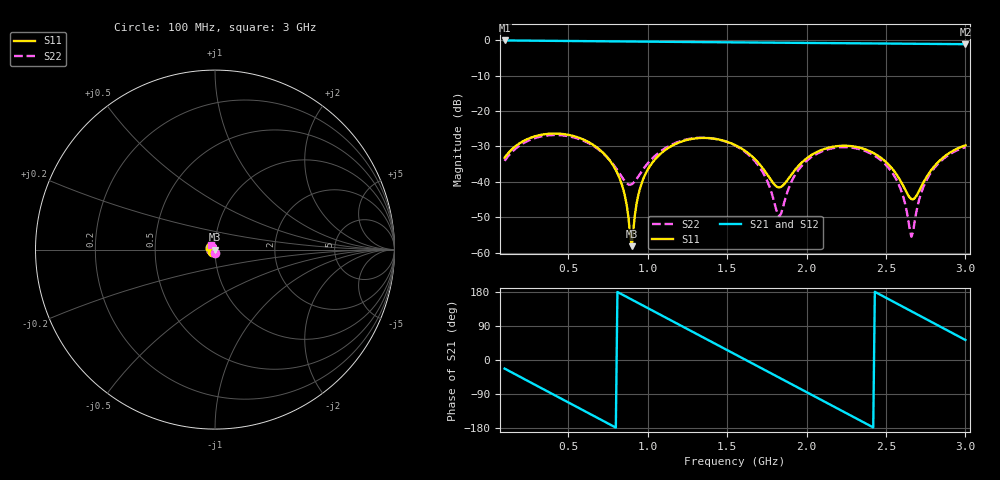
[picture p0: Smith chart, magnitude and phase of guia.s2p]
! Touchstone file from project guia_mathias
! Exported from HFSS 13.0.0
! Variables:
!  Hcobre = 0.015mm
!  Hsubstrato = 1.57mm
!  Lsubstrato = 100mm
!  Wcobre = 3.06mm
!  Wsubstrato = 30mm
# GHZ S MA R 50.000000
! Modal data exported
! Port[1] = 1:1
! Port[2] = 2:1
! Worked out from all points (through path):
!   291 points, 100 MHz to 3 GHz, reference 50 ohm
!   highest |S21| = -0.05 dB at 100 MHz (marker M1); lowest = -1.1 dB at 3 GHz (marker M2)
!   group delay of S21, straight-line fit = 617 ps
!   lowest |S11| = -58.2 dB at 900 MHz (marker M3), VSWR 1.00, Z = 50.1 - j0.0798 ohm
!   |S11| at or under -10 dB: start of sweep to end of sweep
!   |S22| runs from -55.5 to -26.8 dB; largest |S21 - S12| = 9.3e-11
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0.1  0.02191 -141.0  0.9943 -22.6  0.9943 -22.6  0.01982 -95.9
! Gamma ! 0.0518922790040102 3.82800494065523 0.0526845505472849 3.83355159764763
! Port Impedance 50 0 50 0
0.35  0.04697 173.7  0.9826 -78.5  0.9826 -78.5  0.04462 -166.7
0.59  0.04014 122.4  0.9728 -131.8  0.9728 -131.8  0.03858 143.2
0.81  0.01319 72.5  0.9646 179.4  0.9646 179.4  0.01457 121.7
0.86  0.005904 55.5  0.9628 168.3  0.9628 168.3  0.009991 138.0
0.9  0.001232 -40.3  0.9613 159.4  0.9613 159.4  0.00924 164.7
0.92  0.003407 -104.5  0.9605 155.0  0.9605 155.0  0.01019 176.8
0.95  0.007719 -122.9  0.9592 148.3  0.9592 148.3  0.01273 -172.1
1.07  0.02354 -154.4  0.9537 121.7  0.9537 121.7  0.02569 -172.3
1.29  0.04077 159.8  0.9443 73.0  0.9443 73.0  0.04134 151.7
1.55  0.03313 111.4  0.9343 15.3  0.9343 15.3  0.03257 102.2
1.72  0.01607 94.1  0.9282 -22.4  0.9282 -22.4  0.01425 74.9
1.83  0.008331 133.1  0.9242 -46.8  0.9242 -46.8  0.003246 132.7
1.92  0.01404 166.7  0.9209 -66.8  0.9209 -66.8  0.01163 -176.2
2.04  0.02458 160.1  0.9164 -93.4  0.9164 -93.4  0.02309 166.8
2.3  0.0315 118.7  0.9068 -151.2  0.9068 -151.2  0.03006 115.4
2.52  0.01722 86.8  0.8988 159.8  0.8988 159.8  0.01541 70.8
2.6  0.009545 88.8  0.896 142.0  0.896 142.0  0.007086 60.4
2.66  0.005696 123.2  0.8938 128.7  0.8938 128.7  0.001669 117.9
2.71  0.007547 163.7  0.8919 117.5  0.8919 117.5  0.005714 -174.7
2.77  0.01313 175.5  0.8897 104.2  0.8897 104.2  0.01213 -179.4
3  0.03278 149.2  0.8812 52.9  0.8812 52.9  0.03087 130.5
